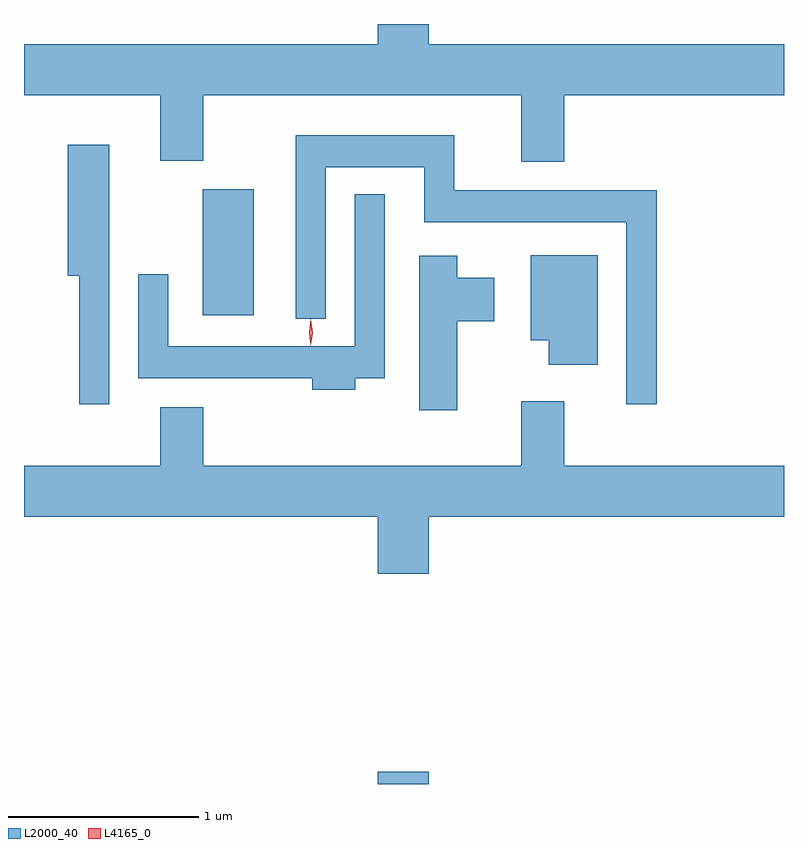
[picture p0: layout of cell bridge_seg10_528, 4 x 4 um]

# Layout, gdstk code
import gdstk
lib = gdstk.Library(unit=1e-6, precision=1e-09)
def R(c, l, rs):  # rectangles x0, y0, x1, y1
    for r in rs: c.add(gdstk.rectangle(r[:2], r[2:], *l))
def P(c, l, *ps):  # polygons
    for p in ps: c.add(gdstk.Polygon(p, *l))
L2000_40 = (2000, 40)
L4165_0 = (4165, 0)

bridge_seg10_528 = lib.new_cell('bridge_seg10_528')
R(bridge_seg10_528, L2000_40, [(794.496,2163.57,794.764,2163.634), (793.576,2166.036,793.844,2166.699)])
P(bridge_seg10_528, L2000_40, [(795.479,2167.196),(796.635,2167.196),(796.635,2167.464),(794.764,2167.464),(794.764,2167.57),(794.496,2167.57),(794.496,2167.464),(792.635,2167.464),(792.635,2167.196),(793.351,2167.196),(793.351,2166.851),(793.579,2166.851),(793.579,2167.196),(795.251,2167.196),(795.251,2166.846),(795.479,2166.846)],
  [(795.964,2166.694),(794.899,2166.694),(794.899,2166.984),(794.066,2166.984),(794.066,2166.018),(794.224,2166.018),(794.224,2166.816),(794.741,2166.816),(794.741,2166.526),(795.806,2166.526),(795.806,2165.568),(795.964,2165.568)],
  [(793.084,2166.934),(792.866,2166.934),(792.866,2166.246),(792.926,2166.246),(792.926,2165.568),(793.084,2165.568)],
  [(794.379,2165.706),(794.534,2165.706),(794.534,2166.673),(794.376,2166.673),(794.376,2165.874),(793.394,2165.874),(793.394,2166.253),(793.236,2166.253),(793.236,2165.706),(794.151,2165.706),(794.151,2165.646),(794.379,2165.646)],
  [(795.654,2166.354),(795.301,2166.354),(795.301,2165.906),(795.396,2165.906),(795.396,2165.776),(795.654,2165.776)],
  [(794.914,2166.006),(795.109,2166.006),(795.109,2166.234),(794.914,2166.234),(794.914,2166.349),(794.716,2166.349),(794.716,2165.536),(794.914,2165.536)],
  [(794.764,2164.976),(796.635,2164.976),(796.635,2165.244),(795.479,2165.244),(795.479,2165.584),(795.251,2165.584),(795.251,2165.244),(793.579,2165.244),(793.579,2165.554),(793.351,2165.554),(793.351,2165.244),(792.635,2165.244),(792.635,2164.976),(794.496,2164.976),(794.496,2164.676),(794.764,2164.676)])
P(bridge_seg10_528, L4165_0, [(794.145,2165.877),(794.144,2165.878),(794.135,2165.946),(794.144,2166.016),(794.145,2166.016),(794.145,2166.016),(794.155,2165.946),(794.145,2165.878)])

lib.write_gds('bridge_seg10_528.gds')
